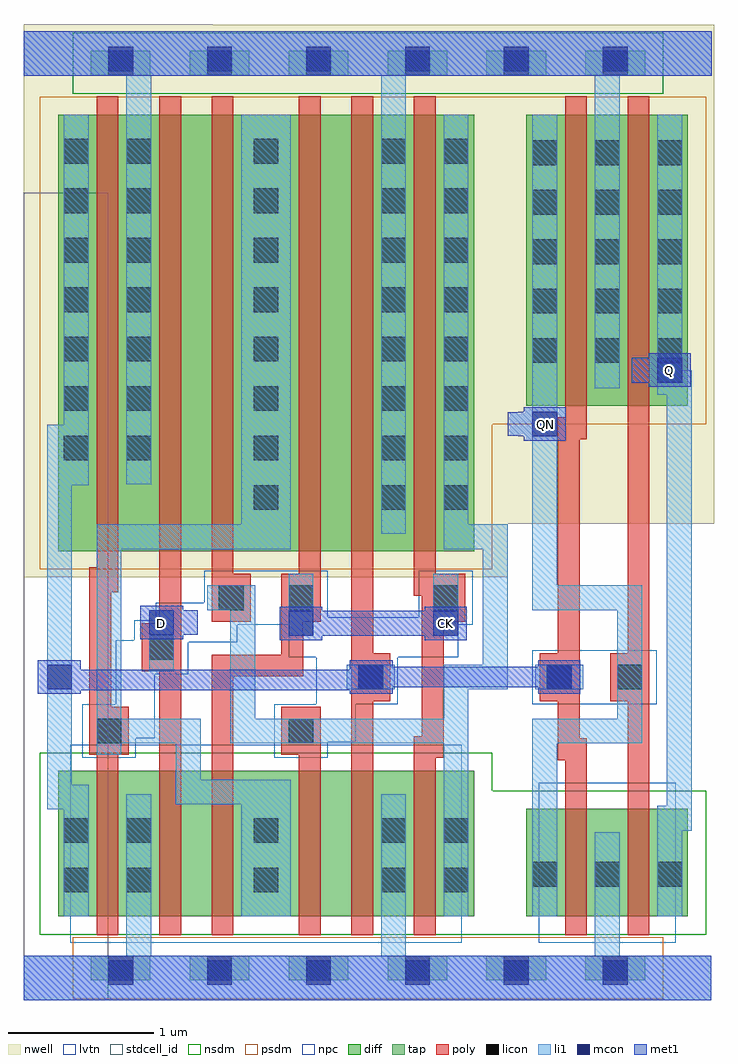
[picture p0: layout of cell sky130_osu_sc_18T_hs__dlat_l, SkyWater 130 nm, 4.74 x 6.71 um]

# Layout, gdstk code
import gdstk
lib = gdstk.Library(unit=1e-6, precision=1e-09)
def R(c, l, rs):  # rectangles x0, y0, x1, y1
    for r in rs: c.add(gdstk.rectangle(r[:2], r[2:], *l))
def A(c, l, x, y, w, h, nx, ny, dx, dy):  # array of equal rectangles
    R(c, l, [(x+i*dx, y+j*dy, x+i*dx+w, y+j*dy+h) for i in range(nx) for j in range(ny)])
nwell = (64, 20)
diff = (65, 20)
tap = (65, 44)
poly = (66, 20)
licon = (66, 44)
li1 = (67, 20)
mcon = (67, 44)
met1 = (68, 20)
stdcell_id = (81, 4)
nsdm = (93, 44)
psdm = (94, 20)
npc = (95, 20)
lvtn = (125, 44)

sky130_osu_sc_18t_hs__dl = lib.new_cell('sky130_osu_sc_18T_hs__dlat_l')
R(sky130_osu_sc_18t_hs__dl, nwell, [(0.355,2.905,3.68,3.275), (0.355,3.275,5.1,6.705), (0.355,6.705,1.65,6.71)])
R(sky130_osu_sc_18t_hs__dl, diff, [(0.59,0.575,3.45,1.575), (3.81,0.575,4.92,1.315), (0.59,3.085,3.45,6.085), (3.81,4.085,4.92,6.085)])
A(sky130_osu_sc_18t_hs__dl, tap, 0.815, 0.135, 0.41, 0.17, 6, 2, 0.68, 6.22)
R(sky130_osu_sc_18t_hs__dl, poly, [(0.855,0.445,1.005,1.685), (1.285,0.445,1.435,2.26), (1.645,0.445,1.795,2.225), (2.245,0.445,2.395,1.685), (2.605,0.445,2.755,2.055), (3.035,0.445,3.185,1.665), (4.075,0.445,4.225,1.65), (4.505,0.445,4.655,2.055), (4.025,1.65,4.225,1.8), (3.035,1.665,3.24,1.815), (0.805,1.685,1.075,2.015), (2.125,1.685,2.395,2.015), (4.025,1.8,4.175,2.055), (3.09,1.815,3.24,2.6), (0.805,2.015,0.955,2.805), (2.605,2.055,2.875,2.385), (3.9,2.055,4.175,2.385), (4.385,2.055,4.655,2.385), (1.645,2.225,2.275,2.375), (1.165,2.26,1.435,2.59), (2.125,2.375,2.275,2.6), (2.605,2.385,2.755,6.215), (4.025,2.385,4.175,3.855), (4.505,2.385,4.655,6.215), (1.285,2.59,1.435,6.215), (1.645,2.6,1.915,2.93), (2.125,2.6,2.395,2.93), (3.09,2.6,3.39,2.78), (3.035,2.78,3.39,2.93), (0.805,2.805,1.005,2.975), (1.645,2.93,1.795,6.215), (2.245,2.93,2.395,6.215), (3.035,2.93,3.185,6.215), (0.855,2.975,1.005,6.215), (4.025,3.855,4.225,4.005), (4.075,4.005,4.225,6.215)])
A(sky130_osu_sc_18t_hs__dl, licon, 0.935, 0.135, 0.17, 0.17, 6, 2, 0.68, 6.22)
A(sky130_osu_sc_18t_hs__dl, licon, 1.06, 0.74, 0.17, 0.17, 3, 2, 0.875, 0.34)
A(sky130_osu_sc_18t_hs__dl, licon, 3.85, 0.78, 0.17, 0.17, 3, 2, 0.43, 3.6)
A(sky130_osu_sc_18t_hs__dl, licon, 3.24, 3.37, 0.17, 0.17, 1, 8, 0, 0.34)
A(sky130_osu_sc_18t_hs__dl, licon, 0.63, 3.71, 0.17, 0.17, 1, 7, 0, 0.34)
A(sky130_osu_sc_18t_hs__dl, licon, 1.06, 3.71, 0.17, 0.17, 3, 7, 0.875, 0.34)
A(sky130_osu_sc_18t_hs__dl, licon, 3.85, 4.72, 0.17, 0.17, 3, 4, 0.43, 0.34)
R(sky130_osu_sc_18t_hs__dl, licon, [(0.63,0.74,0.8,0.91), (3.24,0.74,3.41,0.91), (0.63,1.08,0.8,1.25), (3.24,1.08,3.41,1.25), (0.855,1.765,1.025,1.935), (2.175,1.765,2.345,1.935), (2.655,2.135,2.825,2.305), (3.95,2.135,4.12,2.305), (4.435,2.135,4.605,2.305), (1.215,2.34,1.385,2.51), (1.695,2.68,1.865,2.85), (2.175,2.68,2.345,2.85), (3.17,2.68,3.34,2.85), (1.935,3.37,2.105,3.54), (2.81,3.37,2.98,3.54)])
R(sky130_osu_sc_18t_hs__dl, li1, [(0.355,0,5.08,0.305), (1.06,0.305,1.23,1.415), (2.81,0.305,2.98,1.415), (4.28,0.305,4.45,1.155), (0.63,0.575,0.8,1.31), (1.85,0.575,2.19,1.345), (3.24,0.575,3.41,1.765), (3.85,0.575,4.02,1.765), (4.71,0.575,4.88,1.165), (4.71,1.165,4.945,1.335), (0.515,1.31,0.8,1.48), (4.775,1.335,4.945,4.16), (1.4,1.345,2.19,1.515), (0.515,1.48,0.685,3.54), (1.4,1.515,1.57,1.765), (0.855,1.685,1.025,1.765), (0.855,1.765,1.57,1.935), (1.775,1.765,3.41,1.935), (3.85,1.765,4.605,1.935), (0.855,1.935,1.025,3.1), (1.775,1.935,1.945,2.68), (3.24,1.935,3.41,2.135), (4.435,1.935,4.605,2.68), (2.575,2.135,2.905,2.305), (3.24,2.135,3.68,2.305), (3.87,2.135,4.2,2.305), (1.215,2.26,1.385,2.68), (3.51,2.305,3.68,3.1), (2.175,2.505,2.345,2.93), (3.17,2.505,3.34,2.93), (1.615,2.68,1.945,2.85), (3.85,2.68,4.605,2.85), (3.85,2.85,4.02,6.085), (0.855,3.1,2.19,3.27), (3.24,3.1,3.68,3.27), (2.81,3.205,2.98,6.355), (1.85,3.27,2.19,6.085), (3.24,3.27,3.41,6.085), (0.515,3.54,0.8,3.955), (1.06,3.545,1.23,6.355), (0.63,3.955,0.8,6.085), (4.71,4.16,4.945,4.33), (4.28,4.205,4.45,6.355), (4.71,4.33,4.88,6.085), (0.355,6.355,5.085,6.66)])
A(sky130_osu_sc_18t_hs__dl, mcon, 0.935, 0.105, 0.17, 0.17, 6, 2, 0.68, 6.28)
R(sky130_osu_sc_18t_hs__dl, mcon, [(0.515,2.135,0.685,2.305), (2.655,2.135,2.825,2.305), (3.95,2.135,4.12,2.305), (2.175,2.505,2.345,2.675), (3.17,2.505,3.34,2.675), (1.215,2.51,1.385,2.68), (3.85,3.875,4.02,4.045), (4.71,4.245,4.88,4.415)])
R(sky130_osu_sc_18t_hs__dl, met1, [(0.355,0,5.08,0.305), (0.45,2.105,0.745,2.13), (2.595,2.105,2.89,2.13), (3.89,2.105,4.18,2.15), (0.45,2.13,2.89,2.15), (0.45,2.15,4.18,2.27), (0.45,2.27,0.745,2.335), (2.595,2.27,4.18,2.29), (2.595,2.29,2.89,2.335), (3.89,2.29,4.18,2.335), (2.115,2.475,2.405,2.505), (3.11,2.475,3.4,2.505), (1.155,2.48,1.45,2.51), (2.115,2.505,3.4,2.675), (1.155,2.51,1.55,2.68), (2.115,2.675,2.405,2.705), (3.11,2.675,3.4,2.705), (1.155,2.68,1.45,2.71), (3.79,3.845,4.08,3.875), (3.755,3.875,4.08,3.88), (3.68,3.88,4.08,4.04), (3.755,4.04,4.08,4.045), (3.79,4.045,4.08,4.075), (4.65,4.215,4.94,4.245), (4.535,4.245,4.94,4.415), (4.65,4.415,4.94,4.445), (0.355,6.355,5.085,6.66)])
R(sky130_osu_sc_18t_hs__dl, stdcell_id, [(0.355,0,0.935,5.55)])
R(sky130_osu_sc_18t_hs__dl, nsdm, [(0.465,0.45,5.045,1.44), (0.465,1.44,3.575,1.7), (0.69,6.23,4.75,6.65)])
R(sky130_osu_sc_18t_hs__dl, psdm, [(0.69,0.01,4.75,0.43), (0.465,2.96,3.575,3.96), (0.465,3.96,5.045,6.21)])
R(sky130_osu_sc_18t_hs__dl, npc, [(0.755,1.665,1.125,1.8), (2.075,1.665,2.445,1.775), (2.075,1.775,2.635,2.035), (0.755,1.8,1.255,2.035), (0.985,2.035,1.255,2.24), (2.365,2.035,2.925,2.355), (3.85,2.035,4.705,2.405), (0.985,2.24,1.485,2.46), (2.175,2.355,3.34,2.58), (0.985,2.46,1.82,2.475), (1.115,2.475,1.82,2.58), (1.115,2.58,3.44,2.61), (1.26,2.61,3.44,2.63), (1.26,2.63,2.445,2.73), (3.07,2.63,3.44,2.95), (1.595,2.73,2.445,2.95)])
R(sky130_osu_sc_18t_hs__dl, lvtn, [(0.675,0.395,3.365,1.755), (3.895,0.395,4.835,1.495)])
sky130_osu_sc_18t_hs__dl.add(gdstk.Label('CK', (3.255,2.59), layer=68, texttype=5))
sky130_osu_sc_18t_hs__dl.add(gdstk.Label('D', (1.3,2.59), layer=68, texttype=5))
sky130_osu_sc_18t_hs__dl.add(gdstk.Label('Q', (4.795,4.33), layer=68, texttype=5))
sky130_osu_sc_18t_hs__dl.add(gdstk.Label('QN', (3.94,3.96), layer=68, texttype=5))

lib.write_gds('sky130_osu_sc_18T_hs__dlat_l.gds')
